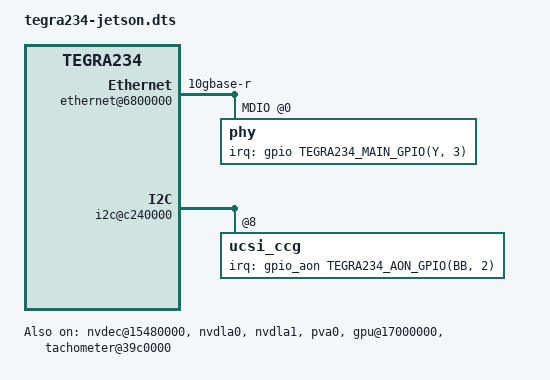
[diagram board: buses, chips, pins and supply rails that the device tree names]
// SPDX-License-Identifier: GPL-2.0-only
// Copyright (c) 2022-2023, NVIDIA CORPORATION & AFFILIATES.  All rights reserved.

/dts-v1/;
/plugin/;

#include <dt-bindings/clock/tegra234-clock.h>
#include <dt-bindings/gpio/tegra234-gpio.h>
#include <dt-bindings/interrupt-controller/arm-gic.h>
#include <dt-bindings/interrupt-controller/irq.h>
#include <dt-bindings/memory/tegra234-mc.h>
#include <dt-bindings/power/tegra234-powergate.h>
#include <dt-bindings/reset/tegra234-reset.h>
#include "tegra234-soc-display-overlay.dtsi"
#include "tegra234-dcb-p3737-0000-p3701-0000.dtsi"

/ {
	overlay-name = "Tegra234 Jetson Overlay";
	compatible = "nvidia,tegra234";

	fragment@0 {
		target-path = "/bus@0/host1x@13e00000";
		__overlay__ {
			#address-cells = <2>;
			#size-cells = <2>;

			interrupt-parent = <&gic>;

			ranges = <0x0 0x14800000 0x0 0x14800000 0x0 0x02000000>,
				 <0x0 0x24700000 0x0 0x24700000 0x0 0x00080000>;

			nvjpg@15380000 {
				compatible = "nvidia,tegra234-nvjpg";
				reg = <0x0 0x15380000 0x0 0x00040000>;
				clocks = <&bpmp TEGRA234_CLK_NVJPG>;
				clock-names = "nvjpg";
				resets = <&bpmp TEGRA234_RESET_NVJPG>;
				reset-names = "nvjpg";

				power-domains = <&bpmp TEGRA234_POWER_DOMAIN_NVJPGA>;
				interconnects = <&mc TEGRA234_MEMORY_CLIENT_NVJPGSRD &emc>,
						<&mc TEGRA234_MEMORY_CLIENT_NVJPGSWR &emc>;
				interconnect-names = "dma-mem", "write";
				iommus = <&smmu_niso1 TEGRA234_SID_NVJPG>;
				dma-coherent;

				nvidia,host1x-class = <0xc0>;
			};

			nvdec@15480000 {
				compatible = "nvidia,tegra234-nvdec";
				reg = <0x0 0x15480000 0x0 0x00040000>;
				clocks = <&bpmp TEGRA234_CLK_NVDEC>,
				         <&bpmp TEGRA234_CLK_FUSE>,
				         <&bpmp TEGRA234_CLK_TSEC_PKA>;
				clock-names = "nvdec", "fuse", "tsec_pka";
				resets = <&bpmp TEGRA234_RESET_NVDEC>;
				reset-names = "nvdec";
				power-domains = <&bpmp TEGRA234_POWER_DOMAIN_NVDEC>;
				interconnects = <&mc TEGRA234_MEMORY_CLIENT_NVDECSRD &emc>,
				                <&mc TEGRA234_MEMORY_CLIENT_NVDECSWR &emc>;
				interconnect-names = "dma-mem", "write";
				iommus = <&smmu_niso1 TEGRA234_SID_NVDEC>;
				dma-coherent;

				nvidia,memory-controller = <&mc>;
				status = "okay";
			};

			nvenc@154c0000 {
				compatible = "nvidia,tegra234-nvenc";
				reg = <0x0 0x154c0000 0x0 0x00040000>;
				clocks = <&bpmp TEGRA234_CLK_NVENC>;
				clock-names = "nvenc";
				resets = <&bpmp TEGRA234_RESET_NVENC>;
				reset-names = "nvenc";

				power-domains = <&bpmp TEGRA234_POWER_DOMAIN_NVENC>;
				interconnects = <&mc TEGRA234_MEMORY_CLIENT_NVENCSRD &emc>,
						<&mc TEGRA234_MEMORY_CLIENT_NVENCSWR &emc>;
				interconnect-names = "dma-mem", "write";
				iommus = <&smmu_niso0 TEGRA234_SID_NVENC>;
				dma-coherent;
			};

			nvjpg@15540000 {
				compatible = "nvidia,tegra234-nvjpg";
				reg = <0x0 0x15540000 0x0 0x00040000>;
				clocks = <&bpmp TEGRA234_CLK_NVJPG1>;
				clock-names = "nvjpg";
				resets = <&bpmp TEGRA234_RESET_NVJPG1>;
				reset-names = "nvjpg";

				power-domains = <&bpmp TEGRA234_POWER_DOMAIN_NVJPGB>;
				interconnects = <&mc TEGRA234_MEMORY_CLIENT_NVJPG1SRD &emc>,
						<&mc TEGRA234_MEMORY_CLIENT_NVJPG1SWR &emc>;
				interconnect-names = "dma-mem", "write";
				iommus = <&smmu_niso0 TEGRA234_SID_NVJPG1>;
				dma-coherent;

				nvidia,host1x-class = <0x07>;
			};

			nvdla0: nvdla0@15880000 {
				compatible = "nvidia,tegra234-nvdla";
				power-domains = <&bpmp TEGRA234_POWER_DOMAIN_DLAA>;
				reg = <0x0 0x15880000 0x0 0x00040000>;
				interrupts = <GIC_SPI 236 IRQ_TYPE_LEVEL_HIGH>;

				resets = <&bpmp TEGRA234_RESET_DLA0>;
				clocks = <&bpmp TEGRA234_CLK_DLA0_CORE>,
					 <&bpmp TEGRA234_CLK_DLA0_FALCON>;
				clock-names = "nvdla0", "nvdla0_flcn";

				interconnects = <&mc TEGRA234_MEMORY_CLIENT_DLA0RDA &emc>,
						<&mc TEGRA234_MEMORY_CLIENT_DLA0FALRDB &emc>,
						<&mc TEGRA234_MEMORY_CLIENT_DLA0WRA &emc>,
						<&mc TEGRA234_MEMORY_CLIENT_DLA0FALWRB &emc>;
				interconnect-names = "dma-mem", "read-1", "write", "write-1";
				iommus = <&smmu_niso1 TEGRA234_SID_NVDLA0>;
				dma-coherent;
				status = "okay";
			};

			nvdla1: nvdla1@158c0000 {
				compatible = "nvidia,tegra234-nvdla";
				power-domains = <&bpmp TEGRA234_POWER_DOMAIN_DLAB>;
				reg = <0x0 0x158c0000 0x0 0x00040000>;
				interrupts = <GIC_SPI 237 IRQ_TYPE_LEVEL_HIGH>;

				resets = <&bpmp TEGRA234_RESET_DLA1>;
				clocks = <&bpmp TEGRA234_CLK_DLA1_CORE>,
					 <&bpmp TEGRA234_CLK_DLA1_FALCON>;
				clock-names = "nvdla1", "nvdla1_flcn";

				interconnects = <&mc TEGRA234_MEMORY_CLIENT_DLA1RDA &emc>,
						<&mc TEGRA234_MEMORY_CLIENT_DLA1FALRDB &emc>,
						<&mc TEGRA234_MEMORY_CLIENT_DLA1WRA &emc>,
						<&mc TEGRA234_MEMORY_CLIENT_DLA1FALWRB &emc>;
				interconnect-names = "dma-mem", "read-1", "write", "write-1";
				iommus = <&smmu_niso0 TEGRA234_SID_NVDLA1>;
				dma-coherent;
				status = "okay";
			};

			ofa@15a50000 {
				compatible = "nvidia,tegra234-ofa";
				reg = <0x0 0x15a50000 0x0 0x00040000>;
				clocks = <&bpmp TEGRA234_CLK_OFA>;
				clock-names = "ofa";
				resets = <&bpmp TEGRA234_RESET_OFA>;
				reset-names = "ofa";

				power-domains = <&bpmp TEGRA234_POWER_DOMAIN_OFA>;
				interconnects = <&mc TEGRA234_MEMORY_CLIENT_OFAR &emc>,
						<&mc TEGRA234_MEMORY_CLIENT_OFAW &emc>;
				interconnect-names = "dma-mem", "write";
				iommus = <&smmu_niso0 TEGRA234_SID_OFA>;
				dma-coherent;
			};

			pva0: pva0@16000000 {
				compatible = "nvidia,tegra234-pva";
				power-domains = <&bpmp TEGRA234_POWER_DOMAIN_PVA>;
				reg = <0x0 0x16000000 0x0 0x800000>,
				      <0x0 0x24700000 0x0 0x080000>;
				interrupts = <0 234 0x04>,
					<0 432 0x04>,
					<0 433 0x04>,
					<0 434 0x04>,
					<0 435 0x04>,
					<0 436 0x04>,
					<0 437 0x04>,
					<0 438 0x04>,
					<0 439 0x04>;
				resets = <&bpmp TEGRA234_RESET_PVA0_ALL>;
				clocks = <&bpmp TEGRA234_CLK_PVA0_CPU_AXI>,
					 <&bpmp TEGRA234_CLK_NAFLL_PVA0_VPS>,
					 <&bpmp TEGRA234_CLK_PVA0_VPS>;
				clock-names = "axi", "vps0", "vps1";

				iommus = <&smmu_niso1 TEGRA234_SID_PVA0>;
				dma-coherent;
				status = "okay";

				pva0_ctx0n1: pva0_niso1_ctx0 {
					compatible = "nvidia,pva-tegra186-iommu-context";
					iommus = <&smmu_niso1 TEGRA234_SID_PVA0_VM0>;
					dma-coherent;
					status = "okay";
				};

				pva0_ctx1n1: pva0_niso1_ctx1 {
					compatible = "nvidia,pva-tegra186-iommu-context";
					iommus = <&smmu_niso1 TEGRA234_SID_PVA0_VM1>;
					dma-coherent;
					status = "okay";
				};

				pva0_ctx2n1: pva0_niso1_ctx2 {
					compatible = "nvidia,pva-tegra186-iommu-context";
					iommus = <&smmu_niso1 TEGRA234_SID_PVA0_VM2>;
					dma-coherent;
					status = "okay";
				};

				pva0_ctx3n1: pva0_niso1_ctx3 {
					compatible = "nvidia,pva-tegra186-iommu-context";
					iommus = <&smmu_niso1 TEGRA234_SID_PVA0_VM3>;
					dma-coherent;
					status = "okay";
				};

				pva0_ctx4n1: pva0_niso1_ctx4 {
					compatible = "nvidia,pva-tegra186-iommu-context";
					iommus = <&smmu_niso1 TEGRA234_SID_PVA0_VM4>;
					dma-coherent;
					status = "okay";
				};

				pva0_ctx5n1: pva0_niso1_ctx5 {
					compatible = "nvidia,pva-tegra186-iommu-context";
					iommus = <&smmu_niso1 TEGRA234_SID_PVA0_VM5>;
					dma-coherent;
					status = "okay";
				};

				pva0_ctx6n1: pva0_niso1_ctx6 {
					compatible = "nvidia,pva-tegra186-iommu-context";
					iommus = <&smmu_niso1 TEGRA234_SID_PVA0_VM6>;
					dma-coherent;
					status = "okay";
				};

				pva0_ctx7n1: pva0_niso1_ctx7 {
					compatible = "nvidia,pva-tegra186-iommu-context";
					iommus = <&smmu_niso1 TEGRA234_SID_PVA0_VM7>;
					dma-coherent;
					status = "okay";
				};
			};
		};
	};

	fragment@1 {
		target-path = "/bus@0";
		__overlay__ {
			gpu@17000000 {
				compatible = "nvidia,ga10b";
				reg = <0x0 0x17000000 0x0 0x01000000>,
				      <0x0 0x18000000 0x0 0x01000000>,
				      <0x0 0x03b41000 0x0 0x00001000>;
				interrupt-parent = <&gic>;
				interrupts = <GIC_SPI 68 IRQ_TYPE_LEVEL_HIGH>,
					     <GIC_SPI 70 IRQ_TYPE_LEVEL_HIGH>,
					     <GIC_SPI 71 IRQ_TYPE_LEVEL_HIGH>,
					     <GIC_SPI 67 IRQ_TYPE_LEVEL_HIGH>;
				interrupt-names = "stall0", "stall1", "stall2", "nonstall";
				power-domains = <&bpmp TEGRA234_POWER_DOMAIN_GPU>;
				interconnects = <&mc TEGRA234_MEMORY_CLIENT_NVL1R &emc>,
						<&mc TEGRA234_MEMORY_CLIENT_NVL1W &emc>;
				interconnect-names = "dma-mem", "write";
				clocks = <&bpmp TEGRA234_CLK_GPUSYS>,
					 <&bpmp TEGRA234_CLK_GPC0CLK>,
					 <&bpmp TEGRA234_CLK_GPC1CLK>;
				clock-names = "sysclk", "gpc0clk", "gpc1clk";
				resets = <&bpmp TEGRA234_RESET_GPU>;
				dma-coherent;

				nvidia,bpmp = <&bpmp>;

				status = "okay";
			};

			tachometer@39c0000 {
				compatible = "nvidia,pwm-tegra234-tachometer";
				reg = <0x0 0x039c0000 0x0 0x10>;
				interrupts = <GIC_SPI 192 IRQ_TYPE_LEVEL_HIGH>;
				#pwm-cells = <2>;
				clocks = <&bpmp TEGRA234_CLK_TACH0>;
				clock-names = "tach";
				resets = <&bpmp TEGRA234_RESET_TACH0>;
				reset-names = "tach";
				pulse-per-rev = <2>;
				capture-window-length = <2>;
				upper-threshold = <0xfffff>;
				lower-threshold = <0x0>;
				status = "okay";
			};

			ethernet@6800000 {
				reg = <0x0 0x06800000 0x0 0x10000>, /* HV base */
				      <0x0 0x06810000 0x0 0x10000>, /* MGBE base */
				      <0x0 0x068a0000 0x0 0x10000>, /* XPCS base */
				      <0x0 0x068d0000 0x0 0x10000>; /* MACsec RM base */
				reg-names = "hypervisor", "mac", "xpcs", "macsec-base";
				interrupts =    <0 384 0x4>,    /* common */
						<0 385 0x4>,    /* vm0 */
						<0 386 0x4>,    /* vm1 */
						<0 387 0x4>,    /* vm2 */
						<0 388 0x4>,    /* vm3 */
						<0 389 0x4>,    /* vm4 */
						<0 390 0x4>,    /* MACsec non-secure intr */
						<0 391 0x4>;    /* MACsec secure intr */
				interrupt-names = "common", "vm0", "vm1", "vm2", "vm3", "vm4",
						  "macsec-ns-irq", "macsec-s-irq";
				resets = <&bpmp TEGRA234_RESET_MGBE0_MAC>,
					 <&bpmp TEGRA234_RESET_MGBE0_PCS>,
					 <&bpmp TEGRA234_RESET_MGBE0_MACSEC>; /* MACsec non-secure reset */
				reset-names = "mac", "pcs", "macsec_ns_rst";
				clocks = <&bpmp TEGRA234_CLK_MGBE0_RX_INPUT_M>,
					 <&bpmp TEGRA234_CLK_MGBE0_RX_PCS_M>,
					 <&bpmp TEGRA234_CLK_MGBE0_RX_PCS_INPUT>,
					 <&bpmp TEGRA234_CLK_MGBE0_RX_PCS>,
					 <&bpmp TEGRA234_CLK_MGBE0_TX>,
					 <&bpmp TEGRA234_CLK_MGBE0_TX_PCS>,
					 <&bpmp TEGRA234_CLK_MGBE0_MAC_DIVIDER>,
					 <&bpmp TEGRA234_CLK_MGBE0_MAC>,
					 <&bpmp TEGRA234_CLK_MGBE0_EEE_PCS>,
					 <&bpmp TEGRA234_CLK_MGBE0_APP>,
					 <&bpmp TEGRA234_CLK_MGBE0_PTP_REF>,
					 <&bpmp TEGRA234_CLK_MGBE0_MACSEC>,
					 <&bpmp TEGRA234_CLK_MGBE0_RX_INPUT>;
				clock-names = "rx-input-m", "rx-pcs-m", "rx-pcs-input",
					      "rx-pcs", "tx", "tx-pcs", "mac-divider",
					      "mac", "eee-pcs", "mgbe", "ptp-ref",
					      "mgbe_macsec", "rx-input";
				nvidia,num-dma-chans = <10>;
				nvidia,dma-chans = <0 1 2 3 4 5 6 7 8 9>;
				nvidia,num-mtl-queues = <10>;
				nvidia,mtl-queues = <0 1 2 3 4 5 6 7 8 9>;
				nvidia,tc-mapping = <0 1 2 3 4 5 6 7 0 1>;
				/* Residual Queue can be any valid queue except RxQ0 */
				nvidia,residual-queue = <1>;
				nvidia,rxq_enable_ctrl = <2 2 2 2 2 2 2 2 2 2>;
				nvidia,tx-queue-prio = <0 1 2 3 4 5 6 7 0 0>;
				nvidia,rx-queue-prio = <0x1 0x2 0x4 0x8 0x10 0x20 0x40 0x80 0x0 0x0>;
				nvidia,dcs-enable = <0x1>;
				nvidia,macsec-enable = <0x1>;
				nvidia,rx_riwt = <512>;
				nvidia,rx_frames = <64>;
				nvidia,tx_usecs = <256>;
				nvidia,tx_frames = <16>;
				nvidia,promisc_mode = <1>;
				nvidia,slot_num_check = <0x0 0x0 0x0 0x0 0x0 0x0 0x0 0x0 0x0 0x0>;
				nvidia,slot_intvl_vals = <0x0 0x7D 0x7D 0x7D 0x7D 0x7D 0x7D 0x7D 0x7D 0x7D>;
				nvidia,ptp_ref_clock_speed = <312500000>;
				nvidia,instance_id = <0>; /* MGBE0 instance */
				nvidia,ptp-rx-queue = <3>;
				nvidia,dma_rx_ring_sz = <4096>;
				nvidia,dma_tx_ring_sz = <4096>;
				dma-coherent;
				nvidia,mac-addr-idx = <0>;
				nvidia,max-platform-mtu = <16383>;
				/* 1=enable, 0=disable */
				nvidia,pause_frames = <1>;
				phy-mode = "10gbase-r";
				/* 0:XFI 10G, 1:XFI 5G, 2:USXGMII 10G, 3:USXGMII 5G */
				nvidia,phy-iface-mode = <0>;
				nvidia,phy-reset-gpio = <&gpio TEGRA234_MAIN_GPIO(Y, 1) 0>;
				nvidia,mdio_addr = <0>;
				nvidia,vm-irq-config = <&mgbe_vm_irq_config>;

				mdio {
					compatible = "nvidia,eqos-mdio";
					#address-cells = <1>;
					#size-cells = <0>;

					phy@0 {
						nvidia,phy-rst-pdelay-msec = <150>; /* msec */
						nvidia,phy-rst-duration-usec = <221000>; /* usec */
						interrupt-parent = <&gpio>;
						interrupts = <TEGRA234_MAIN_GPIO(Y, 3) IRQ_TYPE_LEVEL_LOW>;
					};
				};
			};
		};
	};

	fragment@2 {
		target-path = "/";
		__overlay__ {
			mgbe_vm_irq_config: mgbe-vm-irq-config {
				nvidia,num-vm-irqs = <5>;
				vm_irq1 {
					nvidia,num-vm-channels = <2>;
					nvidia,vm-channels = <0 1>;
					nvidia,vm-num = <0>;
					nvidia,vm-irq-id = <0>;
				};
				vm_irq2 {
					nvidia,num-vm-channels = <2>;
					nvidia,vm-channels = <2 3>;
					nvidia,vm-num = <1>;
					nvidia,vm-irq-id = <1>;
				};
				vm_irq3 {
					nvidia,num-vm-channels = <2>;
					nvidia,vm-channels = <4 5>;
					nvidia,vm-num = <2>;
					nvidia,vm-irq-id = <2>;
				};
				vm_irq4 {
					nvidia,num-vm-channels = <2>;
					nvidia,vm-channels = <6 7>;
					nvidia,vm-num = <3>;
					nvidia,vm-irq-id = <3>;
				};
				vm_irq5 {
					nvidia,num-vm-channels = <2>;
					nvidia,vm-channels = <8 9>;
					nvidia,vm-num = <4>;
					nvidia,vm-irq-id = <4>;
				};
			};

			nvpmodel {
				compatible = "nvidia,nvpmodel";
				nvidia,bpmp = <&bpmp>;
				clocks = <&bpmp TEGRA234_CLK_EMC>;
				clock-names = "emc";
				status = "okay";
			};

			reserved-memory {
				#address-cells = <2>;
				#size-cells = <2>;
				ranges;

				linux,cma { /* Needed for nvgpu comptags */
					compatible = "shared-dma-pool";
					reusable;
					size = <0x0 0x10000000>; /* 256MB */
					alignment = <0x0 0x10000>;
					linux,cma-default;
					status = "okay";
				};
			};

			dce@d800000 {
				status = "okay";
			};

			display@13800000 {
				status = "okay";
			};
		};
	};

	fragment@3 {
		target-path = "/bus@0";
		board_config {
			ids = "3737-0000-TS1","3737-0000-TS2","3737-0000-TS3","3737-0000-EB1","3737-0000-EB2","3737-0000-EB3","3737-0000-000","3737-0000-100","3737-0000-200";
		};
		__overlay__ {
			i2c@c240000 {
				ucsi_ccg@8 {
					interrupt-parent = <&gpio_aon>;
					interrupts = <TEGRA234_AON_GPIO(BB, 2) IRQ_TYPE_LEVEL_LOW>;
				};
			};
		};
	};

	fragment@5 {
		target-path = "/";
		__overlay__ {
			aliases {
				nvdla0 = "/bus@0/host1x@13e00000/nvdla0@15880000";
				nvdla1 = "/bus@0/host1x@13e00000/nvdla1@158c0000";
			};
		};
	};
};
